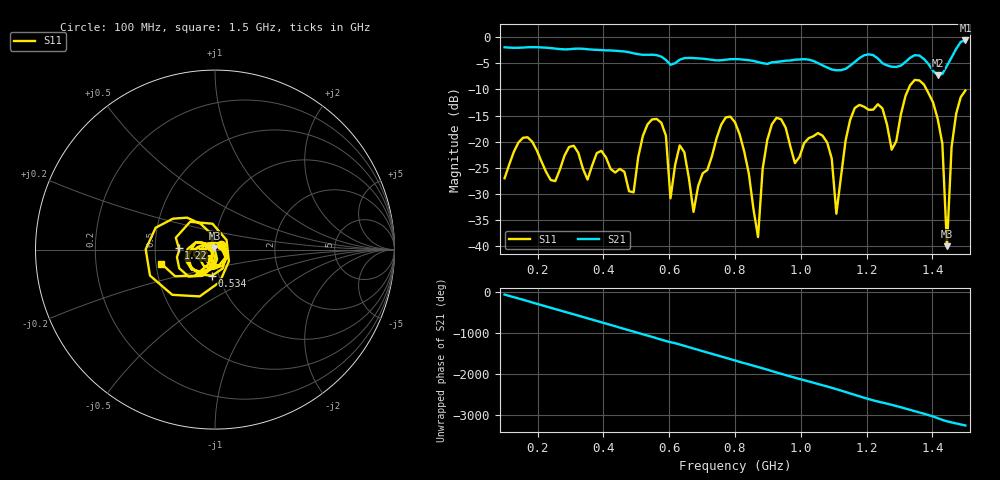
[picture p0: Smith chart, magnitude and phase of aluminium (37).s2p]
! NanoVNA-App
! Date: 2025-09-26 09:58:21
! Start: 100MHz Stop: 1,5GHz Points: 101
! S-Parameter data: F S11 S21 S12 S22
# Hz S RI R 50
!  Frequency  S11_Real  S11_Imag  S21_Real  S21_Imag  S12_Real  S12_Imag  S22_Real  S22_Imag
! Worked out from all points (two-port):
!   101 points, 100 MHz to 1.5 GHz, reference 50 ohm
!   highest |S21| = -0.61 dB at 1.5 GHz (marker M1); lowest = -7.3 dB at 1.416 GHz (marker M2)
!   |S21| within 3 dB of the highest: start of sweep to 571.3 MHz; 1.188 GHz to 1.224 GHz (36.35 MHz wide, 3.01 % of centre) (the widest 2 of 4)
!   lowest |S11| = -40.0 dB at 1.444 GHz (marker M3), VSWR 1.02, Z = 49.7 + j0.93 ohm
!   |S11| at or under -10 dB: start of sweep to 1.327 GHz; 1.382 GHz to end of sweep
!   S12 and S22 are empty: the file has one direction only
!   S11 on the Smith chart (normalised r, x): 100 MHz: 1.07, +0.06; 534 MHz: 0.93, -0.28; 1.22 GHz: 0.66, +0.01; 1.5 GHz: 0.53, -0.09
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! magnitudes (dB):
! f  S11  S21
! 100 MHz  -27.0  -1.9
! 338 MHz  -25.2  -2.2
! 492 MHz  -29.7  -3.1
! 534 MHz  -16.7  -3.4
! 576 MHz  -16.4  -3.7
! 604 MHz  -30.9  -5.3
! 632 MHz  -20.7  -4.3
! 674 MHz  -33.5  -4.0
! 800 MHz  -16.3  -4.2
! 870 MHz  -38.3  -4.8
! 912 MHz  -16.7  -4.8
! 1.038 GHz  -19.0  -4.5
! 1.08 GHz  -20.2  -5.8
! 1.108 GHz  -33.8  -6.3
! 1.15 GHz  -15.8  -5.4
! 1.22 GHz  -13.9  -3.4
! 1.276 GHz  -21.5  -5.6
! 1.346 GHz  -8.2  -3.4
! 1.416 GHz  -15.7  -7.3
! 1.444 GHz  -40.0  -5.5
! 1.458 GHz  -21.0  -3.9
! 1.5 GHz  -10.2  -0.6
